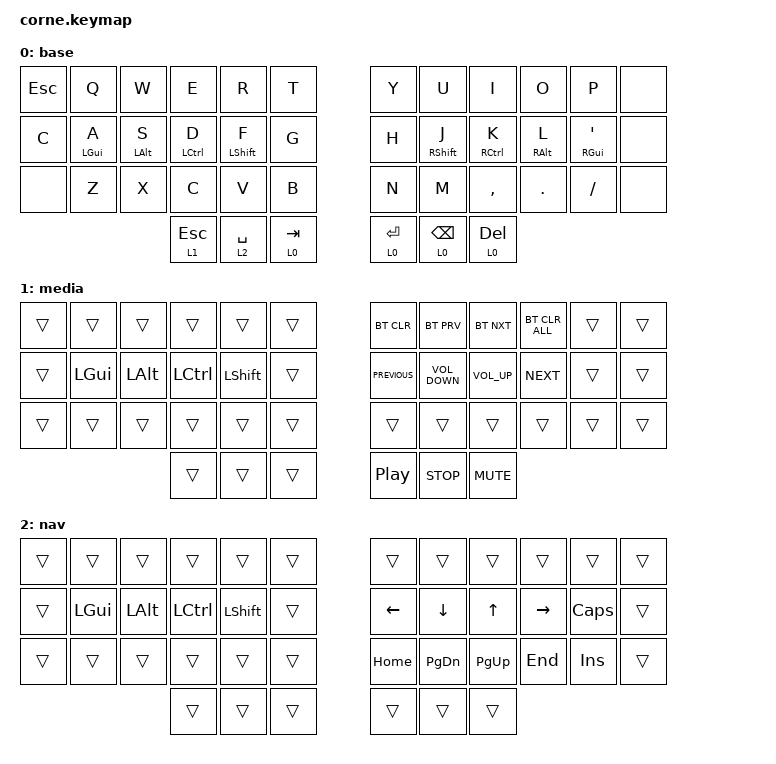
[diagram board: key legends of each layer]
/*
 * Copyright (c) 2020 The ZMK Contributors
 *
 * SPDX-License-Identifier: MIT
 */

#define ZMK_POINTING_DEFAULT_MOVE_VAL 1500  // default: 600
#define ZMK_POINTING_DEFAULT_SCRL_VAL 20    // default: 10

#include <behaviors.dtsi>
#include <dt-bindings/zmk/bt.h>
#include <dt-bindings/zmk/keys.h>

/ {
    combos {
        compatible = "zmk,combos";

        combo_game {
            bindings = <&tog 0>;
            key-positions = <36 41>;
            timeout-ms = <200>;
        };

        game_esc {
            bindings = <&kp ESC>;
            key-positions = <1 2>;
        };
    };

    behaviors {
        hml: hml {
            compatible = "zmk,behavior-hold-tap";
            label = "HML";
            bindings = <&kp>, <&kp>;

            #binding-cells = <2>;
            tapping-term-ms = <220>;
            quick-tap-ms = <175>;
            flavor = "balanced";
            require-prior-idle-ms = <100>;
            hold-trigger-key-positions = <39 40 41 30 18 6 7 9 10 11 18 19 20 21 22 23 30 31 32 33 34 35 40 41 8 36 37 38>;
            hold-trigger-on-release;
        };

        hmr: hmr {
            compatible = "zmk,behavior-hold-tap";
            label = "HMR";
            bindings = <&kp>, <&kp>;

            #binding-cells = <2>;
            tapping-term-ms = <220>;
            quick-tap-ms = <175>;
            require-prior-idle-ms = <100>;
            flavor = "balanced";
            hold-trigger-key-positions = <0 1 2 3 4 5 12 13 14 15 16 17 24 25 26 27 28 29 36 37 38 39 40 41>;
            hold-trigger-on-release;
        };

        tkl: tkl {
            compatible = "zmk,behavior-hold-tap";
            label = "TKL";
            bindings = <&mo>, <&kp>;

            #binding-cells = <2>;
            tapping-term-ms = <220>;
            quick-tap-ms = <175>;
            flavor = "balanced";
            require-prior-idle-ms = <100>;
            hold-trigger-key-positions = <39 40 41 30 18 6 7 9 10 11 18 19 20 21 22 23 30 31 32 33 34 35 40 41 8 38 37 36>;
            hold-trigger-on-release;
        };

        tkr: tkr {
            compatible = "zmk,behavior-hold-tap";
            label = "TKR";
            bindings = <&mo>, <&kp>;

            #binding-cells = <2>;
            tapping-term-ms = <220>;
            quick-tap-ms = <175>;
            require-prior-idle-ms = <100>;
            flavor = "balanced";
            hold-trigger-key-positions = <0 1 2 3 4 5 12 13 14 15 16 17 24 25 26 27 28 29 36 37 38 39 40 41>;
            hold-trigger-on-release;
        };
    };

    keymap {
        compatible = "zmk,keymap";

        base {
            // -----------------------------------------------------------------------------------------
            // |  TAB |  Q  |  W  |  E  |  R  |  T  |   |  Y  |  U   |  I  |  O  |  P  | BKSP |
            // | CTRL |  A  |  S  |  D  |  F  |  G  |   |  H  |  J   |  K  |  L  |  ;  |  '   |
            // | SHFT |  Z  |  X  |  C  |  V  |  B  |   |  N  |  M   |  ,  |  .  |  /  | ESC  |
            //                    | GUI | LWR | SPC |   | ENT | RSE  | ALT |

            bindings = <
&kp ESCAPE  &kp Q            &kp W            &kp E                &kp R              &kp T         &kp Y         &kp U               &kp I                 &kp O             &kp P               &none
&kp C       &hml LEFT_GUI A  &hml LEFT_ALT S  &hml LEFT_CONTROL D  &hml LEFT_SHIFT F  &kp G         &kp H         &hmr RIGHT_SHIFT J  &hmr RIGHT_CONTROL K  &hmr RIGHT_ALT L  &hmr RIGHT_GUI SQT  &none
&none       &kp Z            &kp X            &kp C                &kp V              &kp B         &kp N         &kp M               &kp COMMA             &kp DOT           &kp FSLH            &none
                                              &tkl 1 ESCAPE        &tkl 2 SPACE       &tkl 0 TAB    &tkr 0 ENTER  &tkr 0 BACKSPACE    &tkr 0 DELETE
            >;
        };

        media {
            bindings = <
&trans  &trans        &trans        &trans            &trans          &trans    &bt BT_CLR        &bt BT_PRV         &bt BT_NXT       &bt BT_CLR_ALL  &trans  &trans
&trans  &kp LEFT_GUI  &kp LEFT_ALT  &kp LEFT_CONTROL  &kp LEFT_SHIFT  &trans    &kp C_PREVIOUS    &kp C_VOLUME_DOWN  &kp C_VOLUME_UP  &kp C_NEXT      &trans  &trans
&trans  &trans        &trans        &trans            &trans          &trans    &trans            &trans             &trans           &trans          &trans  &trans
                                    &trans            &trans          &trans    &kp C_PLAY_PAUSE  &kp C_STOP         &kp C_MUTE
            >;
        };

        nav {
            bindings = <
&trans  &trans        &trans        &trans            &trans          &trans    &trans          &trans          &trans        &trans     &trans        &trans
&trans  &kp LEFT_GUI  &kp LEFT_ALT  &kp LEFT_CONTROL  &kp LEFT_SHIFT  &trans    &kp LEFT_ARROW  &kp DOWN_ARROW  &kp UP_ARROW  &kp RIGHT  &kp CAPSLOCK  &trans
&trans  &trans        &trans        &trans            &trans          &trans    &kp HOME        &kp PAGE_DOWN   &kp PAGE_UP   &kp END    &kp INSERT    &trans
                                    &trans            &trans          &trans    &trans          &trans          &trans
            >;
        };
    };
};
